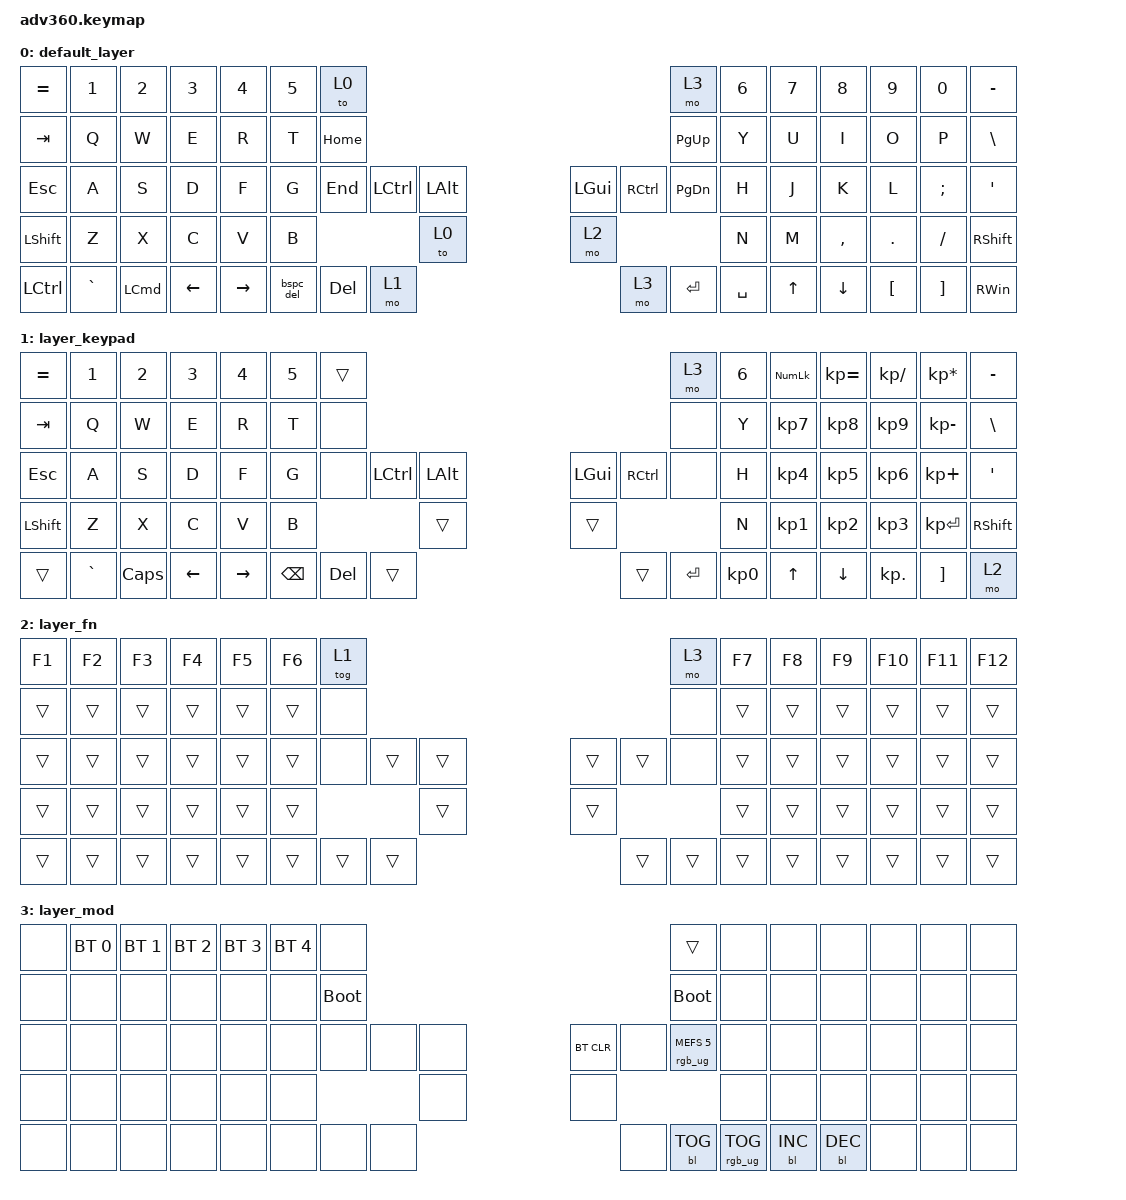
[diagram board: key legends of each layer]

/*
 * Copyright (c) 2020 The ZMK Contributors
 *
 * SPDX-License-Identifier: MIT
 */


/* THIS FILE WAS GENERATED!
 *
 * This file was generated automatically. You may or may not want to
 * edit it directly.
 */

#include <behaviors.dtsi>
#include <dt-bindings/zmk/keys.h>
#include <dt-bindings/zmk/bt.h>
#include <dt-bindings/zmk/rgb.h>
#include <dt-bindings/zmk/backlight.h>

/ {
  behaviors {
    #include "macros.dtsi"

    hm: homerow_mods {
        compatible = "zmk,behavior-hold-tap";
        label = "HOMEROW_MODS";
        #binding-cells = <2>;
        tapping-term-ms = <200>;
        quick_tap_ms = <175>;
        flavor = "tap-preferred";
        bindings = <&kp>, <&kp>;
    };
     bspc_del: backspace_delete {
        compatible = "zmk,behavior-mod-morph";
        label = "BACKSPACE_DELETE";
        #binding-cells = <0>;
        bindings = <&kp BACKSPACE>, <&kp DELETE>;
        mods = <(MOD_LSFT|MOD_RSFT)>;
        };
  };


    keymap {
        compatible = "zmk,keymap";


        default_layer {
            bindings = <
        &kp EQUAL     &kp N1            &kp N2    &kp N3     &kp N4  &kp N5               &to 0                                                                    &mo 3  &kp N6  &kp N7     &kp N8    &kp N9    &kp N0  &kp MINUS
          &kp TAB      &kp Q             &kp W     &kp E      &kp R   &kp T            &kp HOME                                                              &kp PAGE_UP   &kp Y   &kp U      &kp I     &kp O     &kp P   &kp BSLH
          &kp ESC      &kp A             &kp S     &kp D      &kp F   &kp G             &kp END  &kp LCTRL  &kp LALT                  &kp LGUI  &kp RCTRL  &kp PAGE_DOWN   &kp H   &kp J      &kp K     &kp L  &kp SEMI    &kp SQT
        &kp LSHFT      &kp Z             &kp X     &kp C      &kp V   &kp B                                    &to 0                     &mo 2                             &kp N   &kp M  &kp COMMA   &kp DOT  &kp FSLH  &kp RSHFT
 &kp LEFT_CONTROL  &kp GRAVE  &kp LEFT_COMMAND  &kp LEFT  &kp RIGHT                    &bspc_del    &kp DEL     &mo 1                     &mo 3  &kp ENTER      &kp SPACE          &kp UP   &kp DOWN  &kp LBKT  &kp RBKT   &kp RWIN
            >;
        };

        layer_keypad {
            bindings = <
 &kp EQUAL     &kp N1    &kp N2    &kp N3     &kp N4  &kp N5              &trans                                                                &mo 3  &kp N6  &kp KP_NUM  &kp KP_EQUAL  &kp KP_DIVIDE  &kp KP_MULTIPLY  &kp MINUS
   &kp TAB      &kp Q     &kp W     &kp E      &kp R   &kp T               &none                                                                &none   &kp Y   &kp KP_N7     &kp KP_N8      &kp KP_N9     &kp KP_MINUS   &kp BSLH
   &kp ESC      &kp A     &kp S     &kp D      &kp F   &kp G               &none  &kp LCTRL  &kp LALT                  &kp LGUI  &kp RCTRL      &none   &kp H   &kp KP_N4     &kp KP_N5      &kp KP_N6      &kp KP_PLUS    &kp SQT
 &kp LSHFT      &kp Z     &kp X     &kp C      &kp V   &kp B                                   &trans                    &trans                         &kp N   &kp KP_N1     &kp KP_N2      &kp KP_N3     &kp KP_ENTER  &kp RSHFT
    &trans  &kp GRAVE  &kp CAPS  &kp LEFT  &kp RIGHT                    &kp BSPC    &kp DEL    &trans                    &trans  &kp ENTER  &kp KP_N0              &kp UP      &kp DOWN     &kp KP_DOT         &kp RBKT      &mo 2
            >;
        };

        layer_fn {
            bindings = <
 &kp F1  &kp F2  &kp F3  &kp F4  &kp F5  &kp F6            &tog 1                                                   &mo 3  &kp F7  &kp F8  &kp F9  &kp F10  &kp F11  &kp F12
 &trans  &trans  &trans  &trans  &trans  &trans             &none                                                   &none  &trans  &trans  &trans   &trans   &trans   &trans
 &trans  &trans  &trans  &trans  &trans  &trans             &none  &trans  &trans                  &trans  &trans   &none  &trans  &trans  &trans   &trans   &trans   &trans
 &trans  &trans  &trans  &trans  &trans  &trans                            &trans                  &trans                  &trans  &trans  &trans   &trans   &trans   &trans
 &trans  &trans  &trans  &trans  &trans                    &trans  &trans  &trans                  &trans  &trans  &trans          &trans  &trans   &trans   &trans   &trans
            >;
        };

        layer_mod {
            bindings = <
  &none  &bt BT_SEL 0  &bt BT_SEL 1  &bt BT_SEL 2  &bt BT_SEL 3  &bt BT_SEL 4                  &none                                                                          &trans   &none       &none       &none   &none   &none   &none
  &none         &none         &none         &none         &none         &none            &bootloader                                                                     &bootloader   &none       &none       &none   &none   &none   &none
  &none         &none         &none         &none         &none         &none                  &none   &none   &none                  &bt BT_CLR       &none  &rgb_ug RGB_MEFS_CMD 5   &none       &none       &none   &none   &none   &none
  &none         &none         &none         &none         &none         &none                                  &none                       &none                                       &none       &none       &none   &none   &none   &none
  &none         &none         &none         &none         &none                                &none   &none   &none                       &none  &bl BL_TOG         &rgb_ug RGB_TOG          &bl BL_INC  &bl BL_DEC   &none   &none   &none
            >;
        };

    };
};
